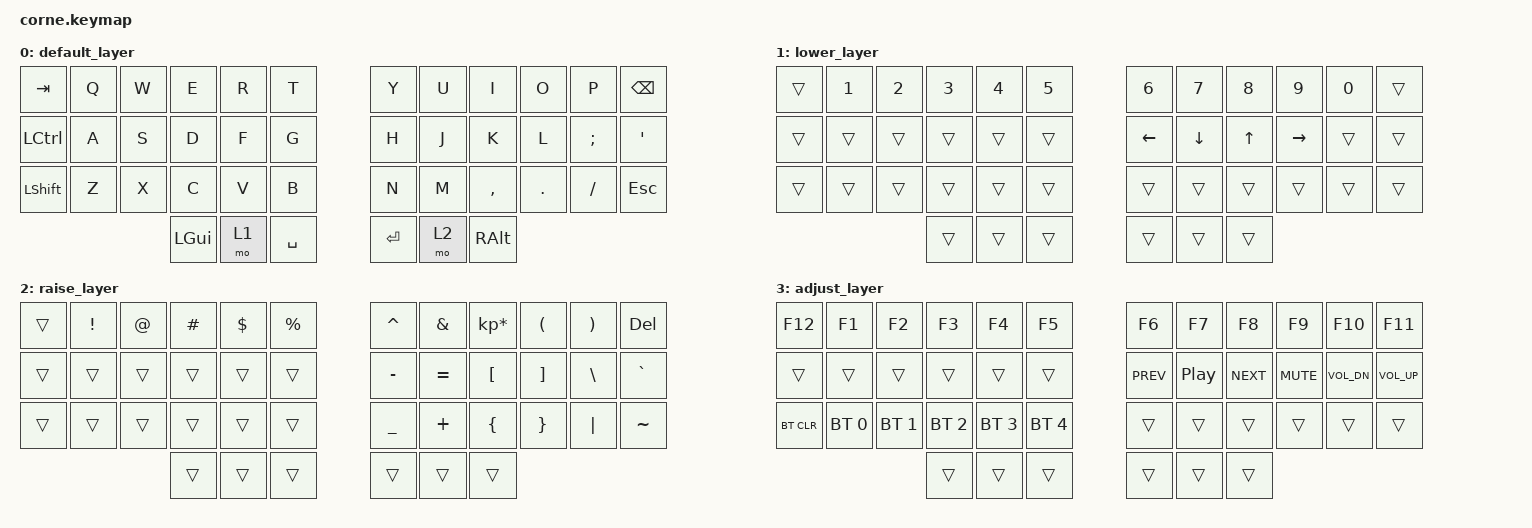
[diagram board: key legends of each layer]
/*
 * Copyright (c) 2020 The ZMK Contributors
 *
 * SPDX-License-Identifier: MIT
 */

#include <behaviors.dtsi>
#include <dt-bindings/zmk/keys.h>
#include <dt-bindings/zmk/bt.h>
#include <dt-bindings/zmk/ext_power.h>

/ {
    conditional_layers {
        compatible = "zmk,conditional-layers";
        tri_layer {
            if-layers = <1 2>;
            then-layer = <3>;
        };
    };
    keymap {
        compatible = "zmk,keymap";

        default_layer {
// -----------------------------------------------------------------------------
// | TAB |  Q  |  W  |  E  |  R  |  T  |   |  Y  |  U  |  I  |  O  |  P  | BSP |
// | CTL |  A  |  S  |  D  |  F  |  G  |   |  H  |  J  |  K  |  L  |  ;  |  '  |
// | SHF |  Z  |  X  |  C  |  V  |  B  |   |  N  |  M  |  ,  |  .  |  /  | ESC |
//                   | GUI | LWR | SPC |   | ENT | RSE | ALT |
            bindings = <
&kp TAB   &kp Q &kp W &kp E    &kp R &kp T       &kp Y   &kp U &kp I     &kp O   &kp P    &kp BSPC
&kp LCTRL &kp A &kp S &kp D    &kp F &kp G       &kp H   &kp J &kp K     &kp L   &kp SEMI &kp SQT
&kp LSHFT &kp Z &kp X &kp C    &kp V &kp B       &kp N   &kp M &kp COMMA &kp DOT &kp FSLH &kp ESC
                      &kp LGUI &mo 1 &kp SPACE   &kp RET &mo 2 &kp RALT
            >;
        };
        lower_layer {
// -----------------------------------------------------------------------------
// |     |  1  |  2  |  3  |  4  |  5  |   |  6  |  7  |  8  |  9  |  0  |     |
// |     |     |     |     |     |     |   | LFT | DWN |  UP | RGT |     |     |
// |     |     |     |     |     |     |   |     |     |     |     |     |     |
//                   |     |     |     |   |     | RSE |     |
            bindings = <
&trans &kp N1 &kp N2 &kp N3 &kp N4 &kp N5      &kp N6   &kp N7   &kp N8 &kp N9    &kp N0 &trans
&trans &trans &trans &trans &trans &trans      &kp LEFT &kp DOWN &kp UP &kp RIGHT &trans &trans
&trans &trans &trans &trans &trans &trans      &trans   &trans   &trans &trans    &trans &trans
                     &trans &trans &trans      &trans   &trans   &trans
            >;
        };
        raise_layer {
// -----------------------------------------------------------------------------
// |     |  !  |  @  |  #  |  $  |  %  |   |  ^  |  &  |  *  |  (  |  )  | DEL |
// |     |     |     |     |     |     |   |  -  |  =  |  {  |  }  |  \  |  `  |
// |     |     |     |     |     |     |   |  _  |  +  |  [  |  ]  |  |  |  ~  |
//                   |     | LWR |     |   |     |     |     |
            bindings = <
&trans &kp EXCL &kp AT &kp HASH &kp DLLR &kp PRCNT      &kp CARET &kp AMPS  &kp KP_MULTIPLY &kp LPAR &kp RPAR &kp DEL
&trans &trans   &trans &trans   &trans   &trans         &kp MINUS &kp EQUAL &kp LBKT        &kp RBKT &kp BSLH &kp GRAVE
&trans &trans   &trans &trans   &trans   &trans         &kp UNDER &kp PLUS  &kp LBRC        &kp RBRC &kp PIPE &kp TILDE
                       &trans   &trans   &trans         &trans    &trans    &trans
            >;
        };
        adjust_layer {
// -----------------------------------------------------------------------------
// | F12 |  F1 |  F2 |  F3 |  F4 |  F5 |   |  F6 |  F7 |  F8 |  F9 | F10 | F11 |
// |     |     |     |     |     |     |   | PRV |  PP | NXT | MUT | VDN | VUP |
// | CLR | BT1 | BT2 | BT3 | BT4 | BT5 |   |     |     |     |     |     |     |   
//                   | GUI |     | SPC |   | ENT |     | ALT |
            bindings = <
&kp F12    &kp F1       &kp F2       &kp F3       &kp F4       &kp F5            &kp F6       &kp F7       &kp F8       &kp F9       &kp F10      &kp F11
&trans     &trans       &trans       &trans       &trans       &trans            &kp C_PREV   &kp C_PP     &kp C_NEXT   &kp C_MUTE   &kp C_VOL_DN &kp C_VOL_UP
&bt BT_CLR &bt BT_SEL 0 &bt BT_SEL 1 &bt BT_SEL 2 &bt BT_SEL 3 &bt BT_SEL 4      &trans       &trans       &trans       &trans       &trans       &trans      
                                     &trans       &trans       &trans            &trans       &trans       &trans
            >;
        };
    };
};
